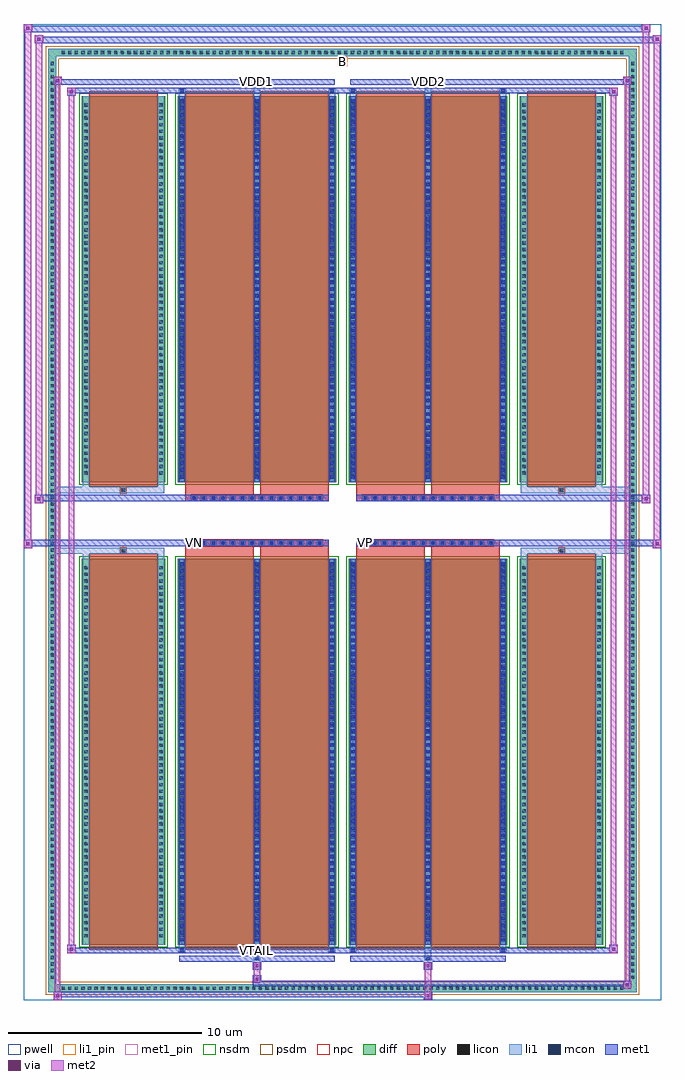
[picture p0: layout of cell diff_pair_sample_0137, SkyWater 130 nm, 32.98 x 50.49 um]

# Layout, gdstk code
import gdstk
lib = gdstk.Library(unit=1e-6, precision=5e-09)
def R(c, l, rs):  # rectangles x0, y0, x1, y1
    for r in rs: c.add(gdstk.rectangle(r[:2], r[2:], *l))
def A(c, l, x, y, w, h, nx, ny, dx, dy):  # array of equal rectangles
    R(c, l, [(x+i*dx, y+j*dy, x+i*dx+w, y+j*dy+h) for i in range(nx) for j in range(ny)])
def P(c, l, *ps):  # polygons
    for p in ps: c.add(gdstk.Polygon(p, *l))
pwell = (64, 44)
diff = (65, 20)
poly = (66, 20)
licon = (66, 44)
li1_pin = (67, 16)
li1 = (67, 20)
mcon = (67, 44)
met1_pin = (68, 16)
met1 = (68, 20)
via = (68, 44)
met2 = (69, 20)
nsdm = (93, 44)
psdm = (94, 20)
npc = (95, 20)

diff_pair_sample_0137 = lib.new_cell('diff_pair_sample_0137')
R(diff_pair_sample_0137, pwell, [(-16.49,-24.81,16.49,25.68), (-13.81,-23,-0.01,-0.8), (0.01,-23,13.81,-0.8), (-13.81,0.8,-0.01,23), (0.01,0.8,13.81,23)])
A(diff_pair_sample_0137, diff, -14.655, -24.41, 0.41, 0.41, 86, 2, 0.34, 48.41)
A(diff_pair_sample_0137, diff, -15.22, -23.835, 0.41, 0.41, 1, 140, 0, 0.34)
A(diff_pair_sample_0137, diff, 14.81, -23.835, 0.41, 0.41, 1, 140, 0, 0.34)
R(diff_pair_sample_0137, diff, [(-14.655,-24.41,14.655,-24), (-15.22,-23.835,-14.81,23.835), (14.81,-23.835,15.22,23.835), (-13.5,-21.955,-9.17,-1.985), (-8.53,-21.955,-0.32,-1.985), (0.32,-21.955,8.53,-1.985), (9.17,-21.955,13.5,-1.985), (-13.5,1.985,-9.17,21.955), (-8.53,1.985,-0.32,21.955), (0.32,1.985,8.53,21.955), (9.17,1.985,13.5,21.955), (-14.655,24,14.655,24.41)])
P(diff_pair_sample_0137, diff, [(15.22,24.41),(-15.22,24.41),(-15.22,-24),(-14.81,-24),(-14.81,24),(14.81,24),(14.81,-24),(-14.81,-24),(-15.22,-24),(-15.22,-24.41),(15.22,-24.41)])
A(diff_pair_sample_0137, poly, -7.84, -1.33, 0.33, 0.33, 14, 2, 0.5, 2.33)
A(diff_pair_sample_0137, poly, 1.01, -1.33, 0.33, 0.33, 14, 2, 0.5, 2.33)
R(diff_pair_sample_0137, poly, [(-13.11,-22.205,-9.56,-1.735), (-8.14,-22.205,-4.59,-1.735), (-4.26,-22.205,-0.71,-1.735), (0.71,-22.205,4.26,-1.735), (4.59,-22.205,8.14,-1.735), (9.56,-22.205,13.11,-1.735), (-11.5,-1.735,-11.17,-1.405), (-11.5,-1.735,-11.17,-1.405), (-8.14,-1.735,-4.59,-1.33), (-4.26,-1.735,-0.71,-1.33), (0.71,-1.735,4.26,-1.33), (4.59,-1.735,8.14,-1.33), (11.17,-1.735,11.5,-1.405), (11.17,-1.735,11.5,-1.405), (-8.14,-1.33,-0.71,-1), (0.71,-1.33,8.14,-1), (-8.14,1,-0.71,1.33), (0.71,1,8.14,1.33), (-8.14,1.33,-4.59,1.735), (-4.26,1.33,-0.71,1.735), (0.71,1.33,4.26,1.735), (4.59,1.33,8.14,1.735), (-11.5,1.405,-11.17,1.735), (-11.5,1.405,-11.17,1.735), (11.17,1.405,11.5,1.735), (11.17,1.405,11.5,1.735), (-13.11,1.735,-9.56,22.205), (-8.14,1.735,-4.59,22.205), (-4.26,1.735,-0.71,22.205), (0.71,1.735,4.26,22.205), (4.59,1.735,8.14,22.205), (9.56,1.735,13.11,22.205)])
A(diff_pair_sample_0137, licon, -14.535, -24.29, 0.17, 0.17, 86, 2, 0.34, 48.41)
A(diff_pair_sample_0137, licon, -15.1, -23.715, 0.17, 0.17, 1, 140, 0, 0.34)
A(diff_pair_sample_0137, licon, 14.93, -23.715, 0.17, 0.17, 1, 140, 0, 0.34)
A(diff_pair_sample_0137, licon, -13.36, -21.575, 0.17, 0.17, 1, 57, 0, 0.34)
A(diff_pair_sample_0137, licon, -9.48, -21.575, 0.17, 0.17, 1, 57, 0, 0.34)
A(diff_pair_sample_0137, licon, -8.39, -21.575, 0.17, 0.17, 3, 57, 3.88, 0.34)
A(diff_pair_sample_0137, licon, 0.46, -21.575, 0.17, 0.17, 3, 57, 3.88, 0.34)
A(diff_pair_sample_0137, licon, 9.31, -21.575, 0.17, 0.17, 1, 57, 0, 0.34)
A(diff_pair_sample_0137, licon, 13.19, -21.575, 0.17, 0.17, 1, 57, 0, 0.34)
A(diff_pair_sample_0137, licon, -7.76, -1.25, 0.17, 0.17, 14, 2, 0.5, 2.33)
A(diff_pair_sample_0137, licon, 1.09, -1.25, 0.17, 0.17, 14, 2, 0.5, 2.33)
A(diff_pair_sample_0137, licon, -13.36, 2.365, 0.17, 0.17, 1, 57, 0, 0.34)
A(diff_pair_sample_0137, licon, -9.48, 2.365, 0.17, 0.17, 1, 57, 0, 0.34)
A(diff_pair_sample_0137, licon, -8.39, 2.365, 0.17, 0.17, 3, 57, 3.88, 0.34)
A(diff_pair_sample_0137, licon, 0.46, 2.365, 0.17, 0.17, 3, 57, 3.88, 0.34)
A(diff_pair_sample_0137, licon, 9.31, 2.365, 0.17, 0.17, 1, 57, 0, 0.34)
A(diff_pair_sample_0137, licon, 13.19, 2.365, 0.17, 0.17, 1, 57, 0, 0.34)
R(diff_pair_sample_0137, licon, [(-11.42,-1.655,-11.25,-1.485), (11.25,-1.655,11.42,-1.485), (-11.42,1.485,-11.25,1.655), (11.25,1.485,11.42,1.655)])
R(diff_pair_sample_0137, li1_pin, [(-0.25,23.5,0.25,24)])
A(diff_pair_sample_0137, li1, -14.615, -24.37, 0.33, 0.33, 86, 2, 0.34, 48.41)
A(diff_pair_sample_0137, li1, -15.18, -23.795, 0.33, 0.33, 1, 140, 0, 0.34)
A(diff_pair_sample_0137, li1, 14.85, -23.795, 0.33, 0.33, 1, 140, 0, 0.34)
A(diff_pair_sample_0137, li1, -8.47, -21.955, 0.33, 19.97, 3, 2, 3.88, 23.94)
A(diff_pair_sample_0137, li1, 0.38, -21.955, 0.33, 19.97, 3, 2, 3.88, 23.94)
A(diff_pair_sample_0137, li1, -8.39, -21.775, 0.17, 0.17, 3, 55, 3.88, 0.36)
A(diff_pair_sample_0137, li1, -8.39, -21.775, 0.17, 19.61, 3, 2, 3.88, 23.94)
A(diff_pair_sample_0137, li1, 0.46, -21.775, 0.17, 0.17, 3, 55, 3.88, 0.36)
A(diff_pair_sample_0137, li1, 0.46, -21.775, 0.17, 19.61, 3, 2, 3.88, 23.94)
A(diff_pair_sample_0137, li1, -13.44, -21.655, 0.33, 0.33, 1, 57, 0, 0.34)
A(diff_pair_sample_0137, li1, -9.56, -21.655, 0.33, 0.33, 1, 57, 0, 0.34)
A(diff_pair_sample_0137, li1, -8.47, -21.655, 0.33, 0.33, 3, 57, 3.88, 0.34)
A(diff_pair_sample_0137, li1, 0.38, -21.655, 0.33, 0.33, 3, 57, 3.88, 0.34)
A(diff_pair_sample_0137, li1, 9.23, -21.655, 0.33, 0.33, 1, 57, 0, 0.34)
A(diff_pair_sample_0137, li1, 13.11, -21.655, 0.33, 0.33, 1, 57, 0, 0.34)
A(diff_pair_sample_0137, li1, -7.84, -1.33, 0.33, 0.33, 14, 2, 0.5, 2.33)
A(diff_pair_sample_0137, li1, 1.01, -1.33, 0.33, 0.33, 14, 2, 0.5, 2.33)
A(diff_pair_sample_0137, li1, -8.39, 2.165, 0.17, 0.17, 3, 55, 3.88, 0.36)
A(diff_pair_sample_0137, li1, 0.46, 2.165, 0.17, 0.17, 3, 55, 3.88, 0.36)
A(diff_pair_sample_0137, li1, -13.44, 2.285, 0.33, 0.33, 1, 57, 0, 0.34)
A(diff_pair_sample_0137, li1, -9.56, 2.285, 0.33, 0.33, 1, 57, 0, 0.34)
A(diff_pair_sample_0137, li1, -8.47, 2.285, 0.33, 0.33, 3, 57, 3.88, 0.34)
A(diff_pair_sample_0137, li1, 0.38, 2.285, 0.33, 0.33, 3, 57, 3.88, 0.34)
A(diff_pair_sample_0137, li1, 9.23, 2.285, 0.33, 0.33, 1, 57, 0, 0.34)
A(diff_pair_sample_0137, li1, 13.11, 2.285, 0.33, 0.33, 1, 57, 0, 0.34)
R(diff_pair_sample_0137, li1, [(-15.22,-24.41,-14.81,-24), (-15.22,-24.41,-14.81,-24), (-14.81,-24.41,14.81,-24), (14.81,-24.41,15.22,-24), (14.81,-24.41,15.22,-24), (-15.22,-24,-14.81,24), (14.81,-24,15.22,24), (-4.59,-22.76,-4.26,-21.955), (-4.51,-22.76,-4.34,-22.59), (4.26,-22.76,4.59,-21.955), (4.34,-22.76,4.51,-22.59), (-8.47,-22.33,-8.14,-21.955), (-8.39,-22.33,-8.22,-22.16), (-0.71,-22.33,-0.38,-21.955), (-0.63,-22.33,-0.46,-22.16), (0.38,-22.33,0.71,-21.955), (0.46,-22.33,0.63,-22.16), (8.14,-22.33,8.47,-21.955), (8.22,-22.33,8.39,-22.16), (-13.44,-21.955,-13.11,-1.985), (-9.56,-21.955,-9.23,-1.985), (9.23,-21.955,9.56,-1.985), (13.11,-21.955,13.44,-1.985), (-13.44,-1.985,-13.11,-1.405), (-9.56,-1.985,-9.23,-1.405), (9.23,-1.985,9.56,-1.405), (13.11,-1.985,13.44,-1.405), (-15.22,-1.735,-11.5,-1.405), (-13.44,-1.735,-11.5,-1.405), (-11.5,-1.735,-11.17,-1.405), (-11.17,-1.735,-9.23,-1.405), (9.23,-1.735,11.17,-1.405), (11.17,-1.735,11.5,-1.405), (11.17,-1.735,15.22,-1.405), (11.5,-1.735,13.44,-1.405), (-15.22,1.405,-11.5,1.735), (-13.44,1.405,-11.5,1.735), (-13.44,1.405,-13.11,1.985), (-11.5,1.405,-11.17,1.735), (-11.17,1.405,-9.23,1.735), (-9.56,1.405,-9.23,1.985), (9.23,1.405,11.17,1.735), (9.23,1.405,9.56,1.985), (11.17,1.405,11.5,1.735), (11.17,1.405,15.22,1.735), (11.5,1.405,13.44,1.735), (13.11,1.405,13.44,1.985), (-13.44,1.985,-13.11,21.955), (-9.56,1.985,-9.23,21.955), (9.23,1.985,9.56,21.955), (13.11,1.985,13.44,21.955), (-8.47,21.955,-8.14,22.33), (-4.59,21.955,-4.26,22.76), (-0.71,21.955,-0.38,22.33), (0.38,21.955,0.71,22.33), (4.26,21.955,4.59,22.76), (8.14,21.955,8.47,22.33), (-8.39,22.16,-8.22,22.33), (-0.63,22.16,-0.46,22.33), (0.46,22.16,0.63,22.33), (8.22,22.16,8.39,22.33), (-4.51,22.59,-4.34,22.76), (4.34,22.59,4.51,22.76), (-15.22,24,-14.81,24.41), (-15.22,24,-14.81,24.41), (-14.81,24,14.81,24.41), (14.81,24,15.22,24.41), (14.81,24,15.22,24.41)])
A(diff_pair_sample_0137, mcon, -8.39, -21.775, 0.17, 0.17, 3, 55, 3.88, 0.36)
A(diff_pair_sample_0137, mcon, 0.46, -21.775, 0.17, 0.17, 3, 55, 3.88, 0.36)
A(diff_pair_sample_0137, mcon, -7.76, -1.25, 0.17, 0.17, 14, 2, 0.5, 2.33)
A(diff_pair_sample_0137, mcon, 1.09, -1.25, 0.17, 0.17, 14, 2, 0.5, 2.33)
A(diff_pair_sample_0137, mcon, -8.39, 2.165, 0.17, 0.17, 3, 55, 3.88, 0.36)
A(diff_pair_sample_0137, mcon, 0.46, 2.165, 0.17, 0.17, 3, 55, 3.88, 0.36)
R(diff_pair_sample_0137, mcon, [(-4.51,-22.76,-4.34,-22.59), (4.34,-22.76,4.51,-22.59), (-8.39,-22.33,-8.22,-22.16), (-0.63,-22.33,-0.46,-22.16), (0.46,-22.33,0.63,-22.16), (8.22,-22.33,8.39,-22.16), (-8.39,22.16,-8.22,22.33), (-0.63,22.16,-0.46,22.33), (0.46,22.16,0.63,22.33), (8.22,22.16,8.39,22.33), (-4.51,22.59,-4.34,22.76), (4.34,22.59,4.51,22.76)])
R(diff_pair_sample_0137, met1_pin, [(-4.56,-22.37,-4.29,-22.1), (-7.81,-1.29,-7.54,-1.02), (1.04,-1.29,1.31,-1.02), (-4.56,22.55,-4.29,22.82), (4.29,22.55,4.56,22.82)])
A(diff_pair_sample_0137, met1, -8.45, -21.955, 0.29, 19.97, 3, 2, 3.88, 23.94)
A(diff_pair_sample_0137, met1, 0.4, -21.955, 0.29, 19.97, 3, 2, 3.88, 23.94)
A(diff_pair_sample_0137, met1, -8.45, -21.835, 0.29, 0.29, 3, 55, 3.88, 0.36)
A(diff_pair_sample_0137, met1, 0.4, -21.835, 0.29, 0.29, 3, 55, 3.88, 0.36)
A(diff_pair_sample_0137, met1, -7.82, -1.31, 0.29, 0.29, 14, 2, 0.5, 2.33)
A(diff_pair_sample_0137, met1, 1.03, -1.31, 0.29, 0.29, 14, 2, 0.5, 2.33)
A(diff_pair_sample_0137, met1, -8.45, 2.105, 0.29, 0.29, 3, 55, 3.88, 0.36)
A(diff_pair_sample_0137, met1, 0.4, 2.105, 0.29, 0.29, 3, 55, 3.88, 0.36)
R(diff_pair_sample_0137, met1, [(-14.95,-24.81,-14.52,-24.38), (4.21,-24.81,4.64,-24.38), (-14.95,-24.67,4.64,-24.38), (14.52,-24.24,14.95,-23.81), (-4.64,-24.1,14.95,-23.81), (-4.64,-23.96,-4.21,-23.53), (-4.64,-23.25,-4.21,-22.82), (4.21,-23.25,4.64,-22.82), (-8.45,-22.82,-0.4,-22.53), (-4.57,-22.82,-4.28,-22.53), (0.4,-22.82,8.45,-22.53), (4.28,-22.82,4.57,-22.53), (-14.24,-22.39,-13.81,-21.96), (-14.24,-22.39,-8.45,-22.1), (-8.45,-22.39,-8.16,-22.1), (-8.45,-22.39,-0.4,-22.1), (-0.69,-22.39,-0.4,-22.1), (-0.4,-22.39,0.4,-22.1), (0.4,-22.39,0.69,-22.1), (0.4,-22.39,8.45,-22.1), (8.16,-22.39,8.45,-22.1), (8.45,-22.39,14.24,-22.1), (13.81,-22.39,14.24,-21.96), (-16.49,-1.43,-16.06,-1), (16.06,-1.43,16.49,-1), (-16.49,-1.33,-0.71,-1), (-8.14,-1.33,-0.71,-1), (0.71,-1.33,8.14,-1), (0.71,-1.33,16.49,-1), (-15.92,0.9,-15.49,1.33), (15.49,0.9,15.92,1.33), (-15.92,1,-8.14,1.33), (-8.14,1,-0.71,1.33), (0.71,1,8.14,1.33), (8.14,1,15.92,1.33), (-14.24,21.96,-13.81,22.39), (13.81,21.96,14.24,22.39), (-14.24,22.1,-8.45,22.39), (-8.45,22.1,-8.16,22.39), (-8.45,22.1,-0.4,22.39), (-0.69,22.1,-0.4,22.39), (-0.4,22.1,0.4,22.39), (0.4,22.1,0.69,22.39), (0.4,22.1,8.45,22.39), (8.16,22.1,8.45,22.39), (8.45,22.1,14.24,22.39), (-14.95,22.53,-14.52,22.96), (-14.95,22.53,-8.45,22.82), (-8.45,22.53,-0.4,22.82), (-4.57,22.53,-4.28,22.82), (0.4,22.53,8.45,22.82), (4.28,22.53,4.57,22.82), (8.45,22.53,14.95,22.82), (14.52,22.53,14.95,22.96), (-15.92,24.68,-15.49,25.11), (-15.92,24.68,-13.81,25.01), (-13.81,24.68,13.81,25.01), (13.81,24.68,16.49,25.01), (16.06,24.68,16.49,25.11), (-16.49,25.25,-16.06,25.68), (-16.49,25.25,-13.81,25.58), (-13.81,25.25,13.81,25.58), (13.81,25.25,15.92,25.58), (15.49,25.25,15.92,25.68)])
R(diff_pair_sample_0137, via, [(-14.81,-24.67,-14.66,-24.52), (4.35,-24.67,4.5,-24.52), (14.66,-24.1,14.81,-23.95), (-4.5,-23.82,-4.35,-23.67), (-4.5,-23.11,-4.35,-22.96), (4.35,-23.11,4.5,-22.96), (-14.1,-22.25,-13.95,-22.1), (13.95,-22.25,14.1,-22.1), (-16.35,-1.29,-16.2,-1.14), (16.2,-1.29,16.35,-1.14), (-15.78,1.04,-15.63,1.19), (15.63,1.04,15.78,1.19), (-14.1,22.1,-13.95,22.25), (13.95,22.1,14.1,22.25), (-14.81,22.67,-14.66,22.82), (14.66,22.67,14.81,22.82), (-15.78,24.82,-15.63,24.97), (16.2,24.82,16.35,24.97), (-16.35,25.39,-16.2,25.54), (15.63,25.39,15.78,25.54)])
R(diff_pair_sample_0137, met2, [(-14.95,-24.81,-14.52,-24.38), (-14.88,-24.81,-14.59,22.96), (-14.59,-24.81,-14.52,-24.38), (-14.9,-24.76,-14.57,-24.43), (4.26,-24.76,4.59,-24.43), (4.26,-24.43,4.59,-23.2), (14.52,-24.24,14.95,-23.81), (14.59,-24.24,14.88,22.96), (14.88,-24.24,14.95,-23.81), (14.57,-24.19,14.9,-23.86), (-4.59,-23.91,-4.26,-23.58), (-4.59,-23.58,-4.26,-23.2), (-4.59,-23.2,-4.26,-22.87), (4.26,-23.2,4.59,-22.87), (-14.24,-22.39,-13.81,-21.96), (-14.17,-22.39,-13.88,22.39), (-13.88,-22.39,-13.81,-21.96), (13.81,-22.39,14.24,-21.96), (13.88,-22.39,14.17,22.39), (14.17,-22.39,14.24,-21.96), (-14.19,-22.34,-13.86,-22.01), (13.86,-22.34,14.19,-22.01), (-16.49,-1.43,-16.06,-1), (-16.44,-1.43,-16.11,25.68), (-16.11,-1.43,-16.06,-1), (16.06,-1.43,16.49,-1), (16.11,-1.43,16.44,25.11), (16.44,-1.43,16.49,-1), (-16.44,-1.38,-16.11,-1.05), (16.11,-1.38,16.44,-1.05), (-15.92,0.9,-15.49,1.33), (-15.87,0.9,-15.54,25.11), (-15.54,0.9,-15.49,1.33), (15.49,0.9,15.92,1.33), (15.54,0.9,15.87,25.68), (15.87,0.9,15.92,1.33), (-15.87,0.95,-15.54,1.28), (15.54,0.95,15.87,1.28), (-14.24,21.96,-13.81,22.39), (-13.88,21.96,-13.81,22.39), (13.81,21.96,14.24,22.39), (14.17,21.96,14.24,22.39), (-14.19,22.01,-13.86,22.34), (13.86,22.01,14.19,22.34), (-14.95,22.53,-14.52,22.96), (-14.59,22.53,-14.52,22.96), (14.52,22.53,14.95,22.96), (14.88,22.53,14.95,22.96), (-14.9,22.58,-14.57,22.91), (14.57,22.58,14.9,22.91), (-15.92,24.68,-15.49,25.11), (-15.54,24.68,-15.49,25.11), (16.06,24.68,16.49,25.11), (16.44,24.68,16.49,25.11), (-15.87,24.73,-15.54,25.06), (16.11,24.73,16.44,25.06), (-16.49,25.25,-16.06,25.68), (-16.11,25.25,-16.06,25.68), (15.49,25.25,15.92,25.68), (15.87,25.25,15.92,25.68), (-16.44,25.3,-16.11,25.63), (15.54,25.3,15.87,25.63)])
R(diff_pair_sample_0137, nsdm, [(-13.63,-22.085,-9.04,-1.855), (-8.66,-22.085,-0.19,-1.855), (0.19,-22.085,8.66,-1.855), (9.04,-22.085,13.63,-1.855), (-13.63,1.855,-9.04,22.085), (-8.66,1.855,-0.19,22.085), (0.19,1.855,8.66,22.085), (9.04,1.855,13.63,22.085)])
P(diff_pair_sample_0137, psdm, [(15.35,24.54),(-15.35,24.54),(-15.35,-23.87),(-14.68,-23.87),(-14.68,23.87),(14.68,23.87),(14.68,-23.87),(-14.68,-23.87),(-15.35,-23.87),(-15.35,-24.54),(15.35,-24.54)])
A(diff_pair_sample_0137, npc, -7.86, -1.35, 0.37, 0.37, 14, 2, 0.5, 2.33)
A(diff_pair_sample_0137, npc, 0.99, -1.35, 0.37, 0.37, 14, 2, 0.5, 2.33)
R(diff_pair_sample_0137, npc, [(-11.52,-1.755,-11.15,-1.385), (11.15,-1.755,11.52,-1.385), (-7.86,-1.35,-6.99,-0.98), (-7.86,-1.35,-6.99,-0.98), (-7.36,-1.35,-6.49,-0.98), (-7.36,-1.35,-6.49,-0.98), (-6.86,-1.35,-5.99,-0.98), (-6.86,-1.35,-5.99,-0.98), (-6.36,-1.35,-5.49,-0.98), (-6.36,-1.35,-5.49,-0.98), (-5.86,-1.35,-4.99,-0.98), (-5.86,-1.35,-4.99,-0.98), (-5.36,-1.35,-4.49,-0.98), (-5.36,-1.35,-4.49,-0.98), (-4.86,-1.35,-3.99,-0.98), (-4.86,-1.35,-3.99,-0.98), (-4.36,-1.35,-3.49,-0.98), (-4.36,-1.35,-3.49,-0.98), (-3.86,-1.35,-2.99,-0.98), (-3.86,-1.35,-2.99,-0.98), (-3.36,-1.35,-2.49,-0.98), (-3.36,-1.35,-2.49,-0.98), (-2.86,-1.35,-1.99,-0.98), (-2.86,-1.35,-1.99,-0.98), (-2.36,-1.35,-1.49,-0.98), (-2.36,-1.35,-1.49,-0.98), (-1.86,-1.35,-0.99,-0.98), (-1.86,-1.35,-0.99,-0.98), (0.99,-1.35,1.86,-0.98), (0.99,-1.35,1.86,-0.98), (1.49,-1.35,2.36,-0.98), (1.49,-1.35,2.36,-0.98), (1.99,-1.35,2.86,-0.98), (1.99,-1.35,2.86,-0.98), (2.49,-1.35,3.36,-0.98), (2.49,-1.35,3.36,-0.98), (2.99,-1.35,3.86,-0.98), (2.99,-1.35,3.86,-0.98), (3.49,-1.35,4.36,-0.98), (3.49,-1.35,4.36,-0.98), (3.99,-1.35,4.86,-0.98), (3.99,-1.35,4.86,-0.98), (4.49,-1.35,5.36,-0.98), (4.49,-1.35,5.36,-0.98), (4.99,-1.35,5.86,-0.98), (4.99,-1.35,5.86,-0.98), (5.49,-1.35,6.36,-0.98), (5.49,-1.35,6.36,-0.98), (5.99,-1.35,6.86,-0.98), (5.99,-1.35,6.86,-0.98), (6.49,-1.35,7.36,-0.98), (6.49,-1.35,7.36,-0.98), (6.99,-1.35,7.86,-0.98), (6.99,-1.35,7.86,-0.98), (-7.86,0.98,-6.99,1.35), (-7.86,0.98,-6.99,1.35), (-7.36,0.98,-6.49,1.35), (-7.36,0.98,-6.49,1.35), (-6.86,0.98,-5.99,1.35), (-6.86,0.98,-5.99,1.35), (-6.36,0.98,-5.49,1.35), (-6.36,0.98,-5.49,1.35), (-5.86,0.98,-4.99,1.35), (-5.86,0.98,-4.99,1.35), (-5.36,0.98,-4.49,1.35), (-5.36,0.98,-4.49,1.35), (-4.86,0.98,-3.99,1.35), (-4.86,0.98,-3.99,1.35), (-4.36,0.98,-3.49,1.35), (-4.36,0.98,-3.49,1.35), (-3.86,0.98,-2.99,1.35), (-3.86,0.98,-2.99,1.35), (-3.36,0.98,-2.49,1.35), (-3.36,0.98,-2.49,1.35), (-2.86,0.98,-1.99,1.35), (-2.86,0.98,-1.99,1.35), (-2.36,0.98,-1.49,1.35), (-2.36,0.98,-1.49,1.35), (-1.86,0.98,-0.99,1.35), (-1.86,0.98,-0.99,1.35), (0.99,0.98,1.86,1.35), (0.99,0.98,1.86,1.35), (1.49,0.98,2.36,1.35), (1.49,0.98,2.36,1.35), (1.99,0.98,2.86,1.35), (1.99,0.98,2.86,1.35), (2.49,0.98,3.36,1.35), (2.49,0.98,3.36,1.35), (2.99,0.98,3.86,1.35), (2.99,0.98,3.86,1.35), (3.49,0.98,4.36,1.35), (3.49,0.98,4.36,1.35), (3.99,0.98,4.86,1.35), (3.99,0.98,4.86,1.35), (4.49,0.98,5.36,1.35), (4.49,0.98,5.36,1.35), (4.99,0.98,5.86,1.35), (4.99,0.98,5.86,1.35), (5.49,0.98,6.36,1.35), (5.49,0.98,6.36,1.35), (5.99,0.98,6.86,1.35), (5.99,0.98,6.86,1.35), (6.49,0.98,7.36,1.35), (6.49,0.98,7.36,1.35), (6.99,0.98,7.86,1.35), (6.99,0.98,7.86,1.35), (-11.52,1.385,-11.15,1.755), (11.15,1.385,11.52,1.755)])
diff_pair_sample_0137.add(gdstk.Label('VTAIL', (-4.425,-22.235), layer=68, texttype=5))
diff_pair_sample_0137.add(gdstk.Label('VN', (-7.675,-1.155), layer=68, texttype=5))
diff_pair_sample_0137.add(gdstk.Label('VP', (1.175,-1.155), layer=68, texttype=5))
diff_pair_sample_0137.add(gdstk.Label('B', (0,23.75), layer=67, texttype=5))
diff_pair_sample_0137.add(gdstk.Label('VDD2', (4.425,22.685), layer=68, texttype=5))
diff_pair_sample_0137.add(gdstk.Label('VDD1', (-4.425,22.685), layer=68, texttype=5))

lib.write_gds('diff_pair_sample_0137.gds')
